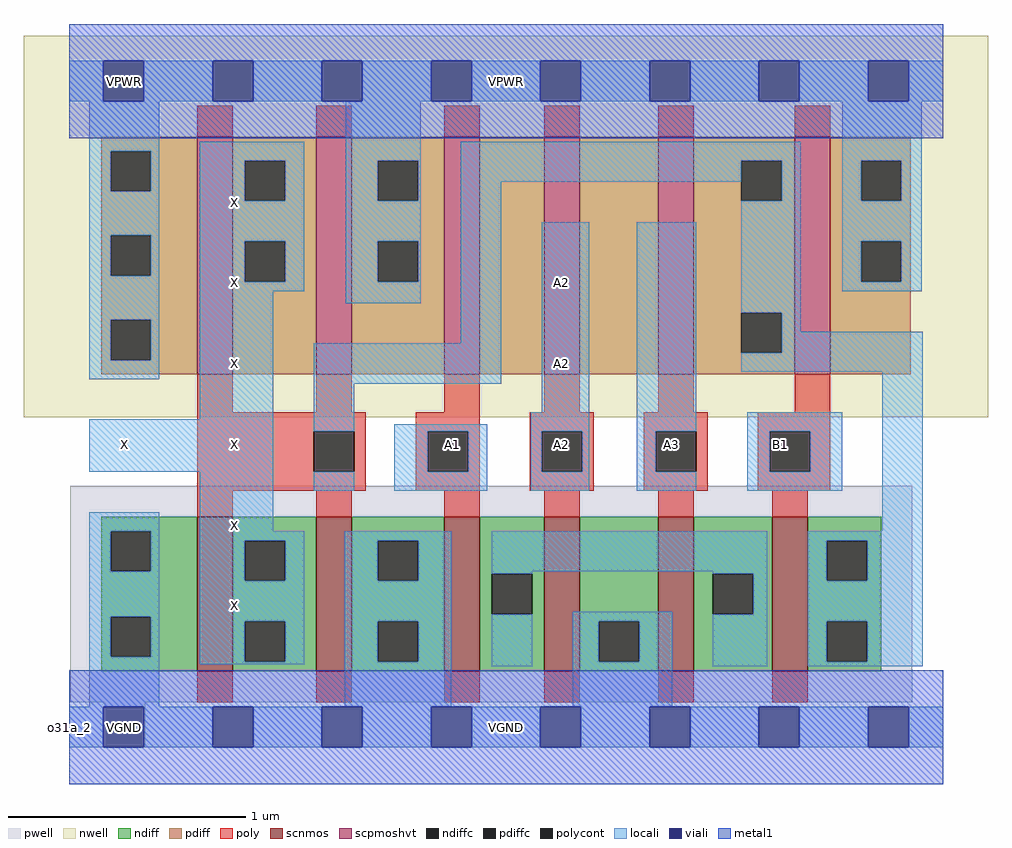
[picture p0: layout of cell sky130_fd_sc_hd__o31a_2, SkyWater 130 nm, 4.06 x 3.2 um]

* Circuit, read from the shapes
.subckt sky130_fd_sc_hd__o31a_2 A1 A2 A3 B1 VGND VNB VPB VPWR X
XM1 X n1 VGND VNB sky130_fd_pr__nfet_01v8 w=0.65 l=0.15 m=2
XM2 n2 A1 VGND VNB sky130_fd_pr__nfet_01v8 w=0.65 l=0.15
XM3 VGND A2 n2 VNB sky130_fd_pr__nfet_01v8 w=0.65 l=0.15
XM4 n2 A3 VGND VNB sky130_fd_pr__nfet_01v8 w=0.65 l=0.15
XM5 n1 B1 n2 VNB sky130_fd_pr__nfet_01v8 w=0.65 l=0.15
XM6 X n1 VPWR VPB sky130_fd_pr__pfet_01v8_hvt w=1 l=0.15 m=2
XM7 n3 A1 VPWR VPB sky130_fd_pr__pfet_01v8_hvt w=1 l=0.15
XM8 n4 A2 n3 VPB sky130_fd_pr__pfet_01v8_hvt w=1 l=0.15
XM9 n1 A3 n4 VPB sky130_fd_pr__pfet_01v8_hvt w=1 l=0.15
XM10 VPWR B1 n1 VPB sky130_fd_pr__pfet_01v8_hvt w=1 l=0.15
.ends

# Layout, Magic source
magic
tech sky130A
magscale 1 2
<< nwell >>
rect -38 261 774 582
<< pwell >>
rect 1 21 710 203
rect 30 -17 64 21
<< scnmos >>
rect 108 47 138 177
rect 208 47 238 177
rect 316 47 346 177
rect 400 47 430 177
rect 496 47 526 177
rect 592 47 622 177
<< scpmoshvt >>
rect 108 297 138 497
rect 208 297 238 497
rect 316 297 346 497
rect 400 297 430 497
rect 496 297 526 497
rect 611 297 641 497
<< ndiff >>
rect 27 165 108 177
rect 27 131 35 165
rect 69 131 108 165
rect 27 93 108 131
rect 27 59 35 93
rect 69 59 108 93
rect 27 47 108 59
rect 138 157 208 177
rect 138 123 148 157
rect 182 123 208 157
rect 138 89 208 123
rect 138 55 148 89
rect 182 55 208 89
rect 138 47 208 55
rect 238 157 316 177
rect 238 123 260 157
rect 294 123 316 157
rect 238 89 316 123
rect 238 55 260 89
rect 294 55 316 89
rect 238 47 316 55
rect 346 129 400 177
rect 346 95 356 129
rect 390 95 400 129
rect 346 47 400 95
rect 430 89 496 177
rect 430 55 446 89
rect 480 55 496 89
rect 430 47 496 55
rect 526 129 592 177
rect 526 95 542 129
rect 576 95 592 129
rect 526 47 592 95
rect 622 157 684 177
rect 622 123 638 157
rect 672 123 684 157
rect 622 89 684 123
rect 622 55 638 89
rect 672 55 684 89
rect 622 47 684 55
<< pdiff >>
rect 27 485 108 497
rect 27 451 35 485
rect 69 451 108 485
rect 27 414 108 451
rect 27 380 35 414
rect 69 380 108 414
rect 27 343 108 380
rect 27 309 35 343
rect 69 309 108 343
rect 27 297 108 309
rect 138 477 208 497
rect 138 443 148 477
rect 182 443 208 477
rect 138 409 208 443
rect 138 375 148 409
rect 182 375 208 409
rect 138 297 208 375
rect 238 477 316 497
rect 238 443 260 477
rect 294 443 316 477
rect 238 409 316 443
rect 238 375 260 409
rect 294 375 316 409
rect 238 297 316 375
rect 346 297 400 497
rect 430 297 496 497
rect 526 477 611 497
rect 526 443 566 477
rect 600 443 611 477
rect 526 349 611 443
rect 526 315 566 349
rect 600 315 611 349
rect 526 297 611 315
rect 641 477 709 497
rect 641 443 667 477
rect 701 443 709 477
rect 641 409 709 443
rect 641 375 667 409
rect 701 375 709 409
rect 641 297 709 375
<< ndiffc >>
rect 35 131 69 165
rect 35 59 69 93
rect 148 123 182 157
rect 148 55 182 89
rect 260 123 294 157
rect 260 55 294 89
rect 356 95 390 129
rect 446 55 480 89
rect 542 95 576 129
rect 638 123 672 157
rect 638 55 672 89
<< pdiffc >>
rect 35 451 69 485
rect 35 380 69 414
rect 35 309 69 343
rect 148 443 182 477
rect 148 375 182 409
rect 260 443 294 477
rect 260 375 294 409
rect 566 443 600 477
rect 566 315 600 349
rect 667 443 701 477
rect 667 375 701 409
<< poly >>
rect 108 497 138 523
rect 208 497 238 523
rect 316 497 346 523
rect 400 497 430 523
rect 496 497 526 523
rect 611 497 641 523
rect 108 265 138 297
rect 208 265 238 297
rect 316 265 346 297
rect 400 265 430 297
rect 496 265 526 297
rect 611 265 641 297
rect 108 249 250 265
rect 108 215 206 249
rect 240 215 250 249
rect 108 199 250 215
rect 292 249 346 265
rect 292 215 302 249
rect 336 215 346 249
rect 292 199 346 215
rect 388 249 442 265
rect 388 215 398 249
rect 432 215 442 249
rect 388 199 442 215
rect 484 249 538 265
rect 484 215 494 249
rect 528 215 538 249
rect 484 199 538 215
rect 580 249 641 265
rect 580 215 590 249
rect 624 215 641 249
rect 580 199 641 215
rect 108 177 138 199
rect 208 177 238 199
rect 316 177 346 199
rect 400 177 430 199
rect 496 177 526 199
rect 592 177 622 199
rect 108 21 138 47
rect 208 21 238 47
rect 316 21 346 47
rect 400 21 430 47
rect 496 21 526 47
rect 592 21 622 47
<< polycont >>
rect 206 215 240 249
rect 302 215 336 249
rect 398 215 432 249
rect 494 215 528 249
rect 590 215 624 249
<< locali >>
rect 0 527 29 561
rect 63 527 121 561
rect 155 527 213 561
rect 247 527 305 561
rect 339 527 397 561
rect 431 527 489 561
rect 523 527 581 561
rect 615 527 673 561
rect 707 527 736 561
rect 17 485 76 527
rect 17 451 35 485
rect 69 451 76 485
rect 17 414 76 451
rect 17 380 35 414
rect 69 380 76 414
rect 17 343 76 380
rect 17 309 35 343
rect 69 309 76 343
rect 17 293 76 309
rect 110 477 198 493
rect 110 443 148 477
rect 182 443 198 477
rect 110 409 198 443
rect 110 375 148 409
rect 182 375 198 409
rect 110 367 198 375
rect 233 477 296 527
rect 233 443 260 477
rect 294 443 296 477
rect 233 409 296 443
rect 233 375 260 409
rect 294 375 296 409
rect 110 259 172 367
rect 233 357 296 375
rect 330 477 616 493
rect 330 459 566 477
rect 330 323 364 459
rect 600 443 616 477
rect 17 215 172 259
rect 17 165 76 181
rect 17 131 35 165
rect 69 131 76 165
rect 17 93 76 131
rect 17 59 35 93
rect 69 59 76 93
rect 17 17 76 59
rect 110 165 172 215
rect 206 289 364 323
rect 206 249 240 289
rect 398 265 438 425
rect 206 199 240 215
rect 274 249 352 255
rect 274 215 302 249
rect 336 215 352 249
rect 274 199 352 215
rect 389 249 438 265
rect 389 215 398 249
rect 432 215 438 249
rect 389 199 438 215
rect 478 249 528 425
rect 566 349 616 443
rect 651 477 718 527
rect 651 443 667 477
rect 701 443 718 477
rect 651 409 718 443
rect 651 375 667 409
rect 701 375 718 409
rect 651 367 718 375
rect 600 333 616 349
rect 600 315 719 333
rect 566 299 719 315
rect 478 215 494 249
rect 478 199 528 215
rect 571 249 651 265
rect 571 215 590 249
rect 624 215 651 249
rect 571 199 651 215
rect 685 165 719 299
rect 110 157 198 165
rect 110 123 148 157
rect 182 123 198 157
rect 110 89 198 123
rect 110 55 148 89
rect 182 55 198 89
rect 110 53 198 55
rect 232 157 322 165
rect 232 123 260 157
rect 294 123 322 157
rect 232 89 322 123
rect 232 55 260 89
rect 294 55 322 89
rect 232 17 322 55
rect 356 131 588 165
rect 356 129 390 131
rect 542 129 588 131
rect 356 51 390 95
rect 424 89 508 97
rect 424 55 446 89
rect 480 55 508 89
rect 424 17 508 55
rect 576 95 588 129
rect 542 51 588 95
rect 622 157 719 165
rect 622 123 638 157
rect 672 123 719 157
rect 622 89 719 123
rect 622 55 638 89
rect 672 55 719 89
rect 622 51 719 55
rect 0 -17 29 17
rect 63 -17 121 17
rect 155 -17 213 17
rect 247 -17 305 17
rect 339 -17 397 17
rect 431 -17 489 17
rect 523 -17 581 17
rect 615 -17 673 17
rect 707 -17 736 17
<< viali >>
rect 29 527 63 561
rect 121 527 155 561
rect 213 527 247 561
rect 305 527 339 561
rect 397 527 431 561
rect 489 527 523 561
rect 581 527 615 561
rect 673 527 707 561
rect 29 -17 63 17
rect 121 -17 155 17
rect 213 -17 247 17
rect 305 -17 339 17
rect 397 -17 431 17
rect 489 -17 523 17
rect 581 -17 615 17
rect 673 -17 707 17
<< metal1 >>
rect 0 561 736 592
rect 0 527 29 561
rect 63 527 121 561
rect 155 527 213 561
rect 247 527 305 561
rect 339 527 397 561
rect 431 527 489 561
rect 523 527 581 561
rect 615 527 673 561
rect 707 527 736 561
rect 0 496 736 527
rect 0 17 736 48
rect 0 -17 29 17
rect 63 -17 121 17
rect 155 -17 213 17
rect 247 -17 305 17
rect 339 -17 397 17
rect 431 -17 489 17
rect 523 -17 581 17
rect 615 -17 673 17
rect 707 -17 736 17
rect 0 -48 736 -17
<< labels >>
flabel locali s 122 425 156 459 0 FreeSans 200 0 0 0 X
port 9 nsew signal output
flabel locali s 306 221 340 255 0 FreeSans 200 0 0 0 A1
port 1 nsew signal input
flabel locali s 30 221 64 255 0 FreeSans 200 0 0 0 X
port 9 nsew signal output
flabel locali s 122 221 156 255 0 FreeSans 200 0 0 0 X
port 9 nsew signal output
flabel locali s 398 221 432 255 0 FreeSans 200 0 0 0 A2
port 2 nsew signal input
flabel locali s 582 221 616 255 0 FreeSans 200 0 0 0 B1
port 4 nsew signal input
flabel locali s 398 289 432 323 0 FreeSans 200 0 0 0 A2
port 2 nsew signal input
flabel locali s 398 357 432 391 0 FreeSans 200 0 0 0 A2
port 2 nsew signal input
flabel locali s 122 153 156 187 0 FreeSans 200 0 0 0 X
port 9 nsew signal output
flabel locali s 122 85 156 119 0 FreeSans 200 0 0 0 X
port 9 nsew signal output
flabel locali s 122 289 156 323 0 FreeSans 200 0 0 0 X
port 9 nsew signal output
flabel locali s 122 357 156 391 0 FreeSans 200 0 0 0 X
port 9 nsew signal output
flabel locali s 490 221 524 255 0 FreeSans 200 0 0 0 A3
port 3 nsew signal input
flabel metal1 s 30 -17 64 17 0 FreeSans 200 0 0 0 VGND
port 5 nsew ground bidirectional abutment
flabel metal1 s 30 527 64 561 0 FreeSans 200 0 0 0 VPWR
port 8 nsew power bidirectional abutment
flabel nwell s 30 527 64 561 0 FreeSans 200 0 0 0 VPB
port 7 nsew power bidirectional
flabel pwell s 30 -17 64 17 0 FreeSans 200 0 0 0 VNB
port 6 nsew ground bidirectional
rlabel comment s 0 0 0 0 4 o31a_2
rlabel metal1 s 0 -48 736 48 1 VGND
port 5 nsew ground bidirectional abutment
rlabel metal1 s 0 496 736 592 1 VPWR
port 8 nsew power bidirectional abutment
<< properties >>
string FIXED_BBOX 0 0 736 544
string GDS_END 1407858
string GDS_FILE $PDKPATH/libs.ref/sky130_fd_sc_hd/gds/sky130_fd_sc_hd.gds
string GDS_START 1400592
string LEFclass CORE
string LEFsite unithd
string LEFsymmetry X Y R90
string path 0.000 0.000 3.680 0.000 
<< end >>
